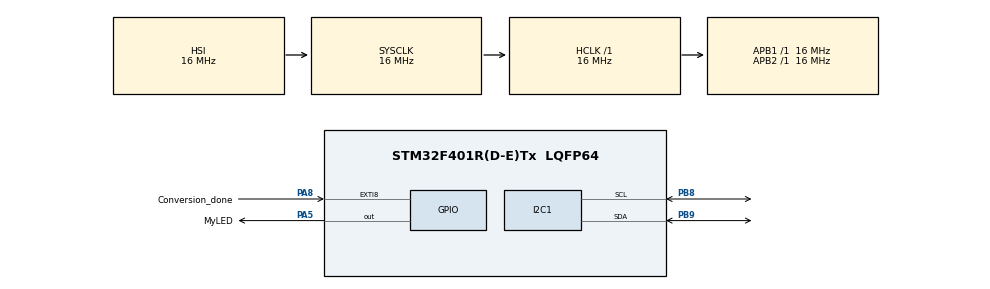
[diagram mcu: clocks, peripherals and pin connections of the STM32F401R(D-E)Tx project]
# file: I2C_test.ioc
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I2C1.DualAddressMode=I2C_DUALADDRESS_DISABLE
I2C1.GeneralCallMode=I2C_GENERALCALL_DISABLE
Mcu.Family=STM32F4
Mcu.Name=STM32F401R(D-E)Tx
Mcu.Package=LQFP64
NVIC.EXTI9_5_IRQn=true\:0\:0\:false\:false\:true\:true\:true
NVIC.PriorityGroup=NVIC_PRIORITYGROUP_4
PA5.GPIO_Label=MyLED
PA5.Signal=GPIO_Output
PA8.GPIO_Label=Conversion_done
PA8.GPIO_PuPd=GPIO_NOPULL
PA8.Signal=GPXTI8
PB8.Mode=I2C
PB8.Signal=I2C1_SCL
PB9.Mode=I2C
PB9.Signal=I2C1_SDA
ProjectManager.HeapSize=0x200
ProjectManager.StackSize=0x400
ProjectManager.TargetToolchain=STM32CubeIDE
RCC.AHBFreq_Value=16000000
RCC.APB1Freq_Value=16000000
RCC.APB2Freq_Value=16000000
RCC.CortexFreq_Value=16000000
RCC.HSE_VALUE=25000000
RCC.HSI_VALUE=16000000
RCC.LSE_VALUE=32768
RCC.SYSCLKFreq_VALUE=16000000
RCC.VCOOutputFreq_Value=192000000
board=custom

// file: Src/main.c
/* USER CODE BEGIN Header */
/**
  ******************************************************************************
  * @file           : main.c
  * @brief          : Main program body
  ******************************************************************************
  * @attention
  *
  * <h2><center>&copy; Copyright (c) 2019 STMicroelectronics.
  * All rights reserved.</center></h2>
  *
  * This software component is licensed by ST under BSD 3-Clause license,
  * the "License"; You may not use this file except in compliance with the
  * License. You may obtain a copy of the License at:
  *                        opensource.org/licenses/BSD-3-Clause
  *
  ******************************************************************************
  */
/* USER CODE END Header */

#include "main.h"

/* USER CODE BEGIN PD */
#define ADC_ADDRESS 0x48
#define ADC_CONV_REG 0x00
#define ADC_CONF_REG 0x01
#define ADC_LO_TH_REG 0x02
#define ADC_HI_TH_REG 0x03

#define ADC_CONF_VALUE 0x4403
/* USER CODE END PD */

I2C_HandleTypeDef hi2c1;

/* USER CODE BEGIN PV */
//uint8_t conf_buffer[3] =     {ADC_CONF_REG, 0x04, 0x03};
uint8_t conf_buffer[3] =     {ADC_CONF_REG, 0x85, 0x08};
uint8_t LO_cmp_buffer[3] = {ADC_LO_TH_REG, 0x50, 0x00};
uint8_t HI_cmp_buffer[3] = {ADC_HI_TH_REG, 0x50, 0x01};
/* USER CODE END PV */

void SystemClock_Config(void);
static void MX_GPIO_Init(void);
static void MX_I2C1_Init(void);

/* USER CODE BEGIN 0 */
static uint8_t lux[2];
static uint16_t reading;
float voltage;
/* USER CODE END 0 */

int main(void)
{

  /* MCU Configuration--------------------------------------------------------*/

  /* Reset of all peripherals, Initializes the Flash interface and the Systick. */
  HAL_Init();

  /* Configure the system clock */
  SystemClock_Config();

  /* Initialize all configured peripherals */
  MX_GPIO_Init();
  MX_I2C1_Init();
  /* USER CODE BEGIN 2 */
  HAL_I2C_Master_Transmit(&hi2c1, ADC_ADDRESS <<1, conf_buffer,   3, 500);
  HAL_I2C_Master_Transmit(&hi2c1, ADC_ADDRESS <<1, LO_cmp_buffer,   3, 500);
  HAL_I2C_Master_Transmit(&hi2c1, ADC_ADDRESS <<1, HI_cmp_buffer,   3, 500);

  /* USER CODE END 2 */

  /* Infinite loop */
  while (1)
  {

    /* USER CODE BEGIN 3 */
	  HAL_I2C_Master_Transmit(&hi2c1, ADC_ADDRESS<<1, ADC_CONV_REG, 1, 500);
	  HAL_Delay(25);
	  HAL_I2C_Master_Receive(&hi2c1, ADC_ADDRESS<<1, lux, 2, 500);

	  reading = (lux[0] << 8 | lux[1]);
	  voltage = reading*(4.048)/(32768.0);

	  HAL_I2C_Master_Transmit(&hi2c1, ADC_ADDRESS <<1, conf_buffer,   3, 500);
  }
  /* USER CODE END 3 */
}

void SystemClock_Config(void)
{
  RCC_OscInitTypeDef RCC_OscInitStruct = {0};
  RCC_ClkInitTypeDef RCC_ClkInitStruct = {0};

  /** Configure the main internal regulator output voltage
  */
  __HAL_RCC_PWR_CLK_ENABLE();
  __HAL_PWR_VOLTAGESCALING_CONFIG(PWR_REGULATOR_VOLTAGE_SCALE2);
  /** Initializes the CPU, AHB and APB busses clocks
  */
  RCC_OscInitStruct.OscillatorType = RCC_OSCILLATORTYPE_HSI;
  RCC_OscInitStruct.HSIState = RCC_HSI_ON;
  RCC_OscInitStruct.HSICalibrationValue = RCC_HSICALIBRATION_DEFAULT;
  RCC_OscInitStruct.PLL.PLLState = RCC_PLL_NONE;
  if (HAL_RCC_OscConfig(&RCC_OscInitStruct) != HAL_OK)
  {
    Error_Handler();
  }
  /** Initializes the CPU, AHB and APB busses clocks
  */
  RCC_ClkInitStruct.ClockType = RCC_CLOCKTYPE_HCLK|RCC_CLOCKTYPE_SYSCLK
                              |RCC_CLOCKTYPE_PCLK1|RCC_CLOCKTYPE_PCLK2;
  RCC_ClkInitStruct.SYSCLKSource = RCC_SYSCLKSOURCE_HSI;
  RCC_ClkInitStruct.AHBCLKDivider = RCC_SYSCLK_DIV1;
  RCC_ClkInitStruct.APB1CLKDivider = RCC_HCLK_DIV1;
  RCC_ClkInitStruct.APB2CLKDivider = RCC_HCLK_DIV1;

  if (HAL_RCC_ClockConfig(&RCC_ClkInitStruct, FLASH_LATENCY_0) != HAL_OK)
  {
    Error_Handler();
  }
}

static void MX_I2C1_Init(void)
{

  hi2c1.Instance = I2C1;
  hi2c1.Init.ClockSpeed = 100000;
  hi2c1.Init.DutyCycle = I2C_DUTYCYCLE_2;
  hi2c1.Init.OwnAddress1 = 0;
  hi2c1.Init.AddressingMode = I2C_ADDRESSINGMODE_7BIT;
  hi2c1.Init.DualAddressMode = I2C_DUALADDRESS_DISABLE;
  hi2c1.Init.OwnAddress2 = 0;
  hi2c1.Init.GeneralCallMode = I2C_GENERALCALL_DISABLE;
  hi2c1.Init.NoStretchMode = I2C_NOSTRETCH_DISABLE;
  if (HAL_I2C_Init(&hi2c1) != HAL_OK)
  {
    Error_Handler();
  }

}

static void MX_GPIO_Init(void)
{
  GPIO_InitTypeDef GPIO_InitStruct = {0};

  /* GPIO Ports Clock Enable */
  __HAL_RCC_GPIOA_CLK_ENABLE();
  __HAL_RCC_GPIOB_CLK_ENABLE();

  /*Configure GPIO pin Output Level */
  HAL_GPIO_WritePin(MyLED_GPIO_Port, MyLED_Pin, GPIO_PIN_RESET);

  /*Configure GPIO pin : MyLED_Pin */
  GPIO_InitStruct.Pin = MyLED_Pin;
  GPIO_InitStruct.Mode = GPIO_MODE_OUTPUT_PP;
  GPIO_InitStruct.Pull = GPIO_NOPULL;
  GPIO_InitStruct.Speed = GPIO_SPEED_FREQ_LOW;
  HAL_GPIO_Init(MyLED_GPIO_Port, &GPIO_InitStruct);

  /*Configure GPIO pin : Conversion_done_Pin */
  GPIO_InitStruct.Pin = Conversion_done_Pin;
  GPIO_InitStruct.Mode = GPIO_MODE_IT_RISING;
  GPIO_InitStruct.Pull = GPIO_NOPULL;
  HAL_GPIO_Init(Conversion_done_GPIO_Port, &GPIO_InitStruct);

  /* EXTI interrupt init*/
  HAL_NVIC_SetPriority(EXTI9_5_IRQn, 0, 0);
  HAL_NVIC_EnableIRQ(EXTI9_5_IRQn);

}

void Error_Handler(void)
{
}

/************************ (C) COPYRIGHT STMicroelectronics *****END OF FILE****/
